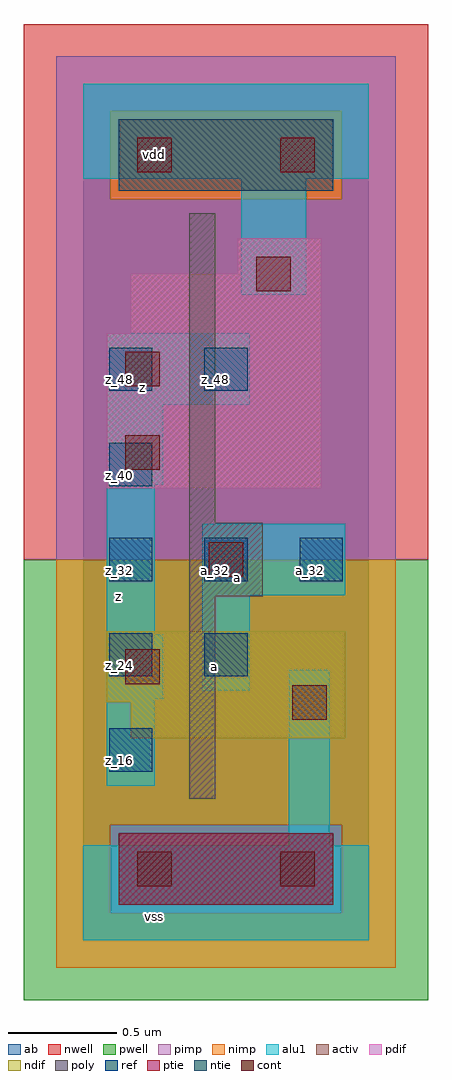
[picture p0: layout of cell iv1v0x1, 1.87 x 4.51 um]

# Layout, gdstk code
import gdstk
lib = gdstk.Library(unit=1e-6, precision=2.5e-09)
def R(c, l, rs):  # rectangles x0, y0, x1, y1
    for r in rs: c.add(gdstk.rectangle(r[:2], r[2:], *l))
def A(c, l, x, y, w, h, nx, ny, dx, dy):  # array of equal rectangles
    R(c, l, [(x+i*dx, y+j*dy, x+i*dx+w, y+j*dy+h) for i in range(nx) for j in range(ny)])
ndif = (3, 0)
pdif = (4, 0)
ntie = (5, 0)
ptie = (6, 0)
ref = (24, 0)
cont = (25, 0)
pwell = (41, 0)
nwell = (42, 0)
activ = (43, 0)
pimp = (44, 0)
nimp = (45, 0)
poly = (46, 0)
alu1 = (49, 0)
ab = (63, 0)

iv1v0x1 = lib.new_cell('iv1v0x1')
R(iv1v0x1, ndif, [(0.22,0.935,1.21,1.1), (0.11,1.1,1.21,1.43)])
R(iv1v0x1, pdif, [(0.11,2.09,1.1,2.805), (0.22,2.805,1.1,3.08), (0.715,3.08,1.1,3.245)])
R(iv1v0x1, ntie, [(0.165,3.465,1.155,3.795)])
R(iv1v0x1, ptie, [(0.165,0.165,1.155,0.495)])
A(iv1v0x1, ref, 0.12, 1.66, 0.2, 0.2, 3, 1, 0.44, 0)
R(iv1v0x1, ref, [(0.12,0.78,0.32,0.98), (0.12,1.22,0.32,1.42), (0.56,1.22,0.76,1.42), (0.12,2.1,0.32,2.3), (0.12,2.54,0.32,2.74), (0.56,2.54,0.76,2.74)])
R(iv1v0x1, cont, [(0.25,0.25,0.41,0.41), (0.91,0.25,1.07,0.41), (0.965,1.02,1.125,1.18), (0.195,1.185,0.355,1.345), (0.58,1.68,0.74,1.84), (0.195,2.175,0.355,2.335), (0.195,2.56,0.355,2.72), (0.8,3,0.96,3.16), (0.25,3.55,0.41,3.71), (0.91,3.55,1.07,3.71)])
R(iv1v0x1, pwell, [(-0.275,-0.275,1.595,1.76)])
R(iv1v0x1, nwell, [(-0.275,1.76,1.595,4.235)])
R(iv1v0x1, activ, [(0.165,0.165,1.155,0.495), (0.22,0.935,1.21,1.1), (0.11,1.1,1.21,1.43), (0.11,2.09,1.1,2.805), (0.22,2.805,1.1,3.08), (0.715,3.08,1.1,3.245), (0.165,3.465,1.155,3.795)])
R(iv1v0x1, pimp, [(0.125,0.125,1.195,0.535), (-0.125,1.76,1.445,3.425), (-0.125,3.425,0.125,3.835), (1.195,3.425,1.445,3.835), (-0.125,3.835,1.445,4.085)])
R(iv1v0x1, nimp, [(-0.125,-0.125,1.445,0.125), (-0.125,0.125,0.125,0.535), (1.195,0.125,1.445,0.535), (-0.125,0.535,1.445,1.76), (0.125,3.425,1.195,3.835)])
R(iv1v0x1, poly, [(0.49,0.655,0.61,1.59), (0.49,1.59,0.83,1.93), (0.49,1.93,0.61,3.36)])
R(iv1v0x1, alu1, [(0,0,1.32,0.44), (0.95,0.44,1.14,1.25), (0.11,0.715,0.33,1.115), (0.11,1.115,0.37,1.415), (0.55,1.155,0.77,1.595), (0.11,1.415,0.33,2.105), (0.55,1.595,1.21,1.925), (0.11,2.105,0.37,2.475), (0.11,2.475,0.77,2.805), (0.73,2.985,1.03,3.52), (0,3.52,1.32,3.96)])
R(iv1v0x1, ab, [(0,0,1.32,3.96)])
iv1v0x1.add(gdstk.Label('vss', (0.33,0.11), layer=49, texttype=0))
iv1v0x1.add(gdstk.Label('a', (0.605,1.265), layer=49, texttype=0))
iv1v0x1.add(gdstk.Label('a', (0.715,1.6775), layer=49, texttype=0))
iv1v0x1.add(gdstk.Label('z', (0.165,1.5875), layer=49, texttype=0))
iv1v0x1.add(gdstk.Label('z', (0.275,2.5575), layer=49, texttype=0))
iv1v0x1.add(gdstk.Label('vdd', (0.33,3.63), layer=49, texttype=0))
iv1v0x1.add(gdstk.Label('z_16', (0.17,0.83), layer=24, texttype=0))
iv1v0x1.add(gdstk.Label('a_24', (0.61,1.27), layer=24, texttype=0))
iv1v0x1.add(gdstk.Label('z_48', (0.17,2.59), layer=24, texttype=0))
iv1v0x1.add(gdstk.Label('z_40', (0.17,2.15), layer=24, texttype=0))
iv1v0x1.add(gdstk.Label('z_32', (0.17,1.71), layer=24, texttype=0))
iv1v0x1.add(gdstk.Label('z_24', (0.17,1.27), layer=24, texttype=0))
iv1v0x1.add(gdstk.Label('a_32', (1.05,1.71), layer=24, texttype=0))
iv1v0x1.add(gdstk.Label('z_48', (0.61,2.59), layer=24, texttype=0))
iv1v0x1.add(gdstk.Label('a_32', (0.61,1.71), layer=24, texttype=0))

lib.write_gds('iv1v0x1.gds')
